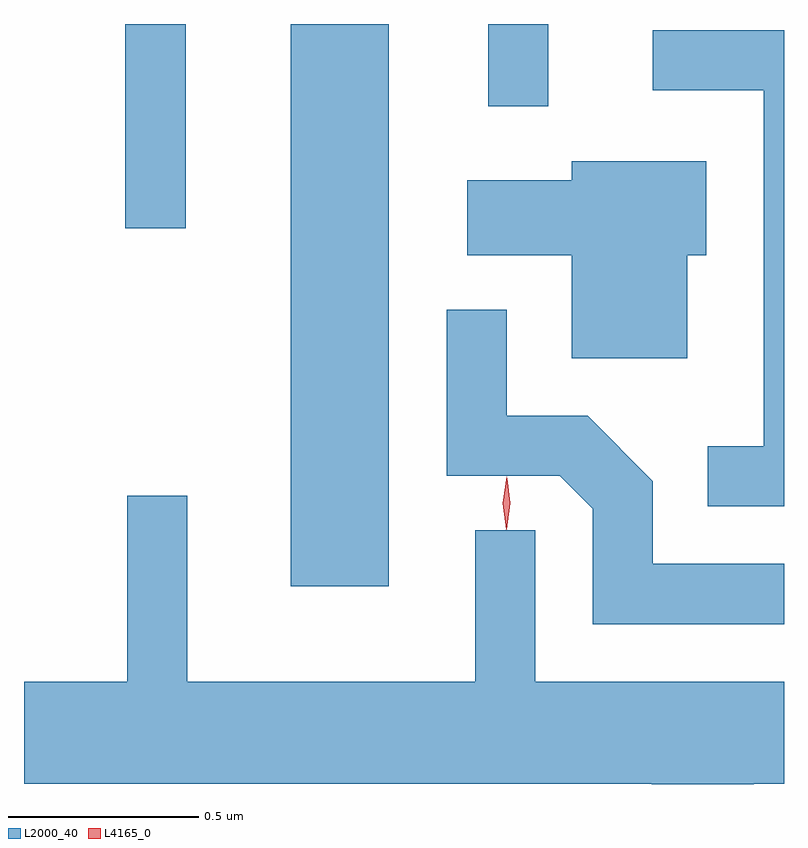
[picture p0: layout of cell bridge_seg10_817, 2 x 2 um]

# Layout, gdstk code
import gdstk
lib = gdstk.Library(unit=1e-6, precision=1e-09)
def R(c, l, rs):  # rectangles x0, y0, x1, y1
    for r in rs: c.add(gdstk.rectangle(r[:2], r[2:], *l))
def P(c, l, *ps):  # polygons
    for p in ps: c.add(gdstk.Polygon(p, *l))
L2000_40 = (2000, 40)
L4165_0 = (4165, 0)

bridge_seg10_817 = lib.new_cell('bridge_seg10_817')
R(bridge_seg10_817, L2000_40, [(547.866,2098.896,548.124,2100.375), (547.431,2099.838,547.589,2100.375), (548.386,2100.158,548.544,2100.375)])
P(bridge_seg10_817, L2000_40, [(549.164,2100.359),(548.818,2100.359),(548.818,2100.201),(549.111,2100.201),(549.111,2099.264),(548.963,2099.264),(548.963,2099.106),(549.164,2099.106)],
  [(548.909,2099.766),(548.959,2099.766),(548.959,2100.014),(548.606,2100.014),(548.606,2099.964),(548.331,2099.964),(548.331,2099.766),(548.606,2099.766),(548.606,2099.496),(548.909,2099.496)],
  [(549.164,2098.954),(548.819,2098.954),(548.819,2099.172),(548.647,2099.344),(548.434,2099.344),(548.434,2099.623),(548.276,2099.623),(548.276,2099.186),(548.574,2099.186),(548.661,2099.099),(548.661,2098.796),(549.164,2098.796)],
  [(549.084,2098.376),(549.164,2098.376),(549.164,2098.644),(548.509,2098.644),(548.509,2099.043),(548.351,2099.043),(548.351,2098.644),(547.594,2098.644),(547.594,2099.133),(547.436,2099.133),(547.436,2098.644),(547.164,2098.644),(547.164,2098.376),(548.816,2098.376),(548.816,2098.375),(549.084,2098.375)])
P(bridge_seg10_817, L4165_0, [(548.433,2099.044),(548.433,2099.045),(548.424,2099.114),(548.434,2099.183),(548.434,2099.184),(548.435,2099.183),(548.444,2099.114),(548.434,2099.045)],
  [(548.433,2099.048),(548.424,2099.114),(548.435,2099.18),(548.435,2099.181),(548.436,2099.18),(548.444,2099.114),(548.434,2099.048),(548.434,2099.048)])

lib.write_gds('bridge_seg10_817.gds')
